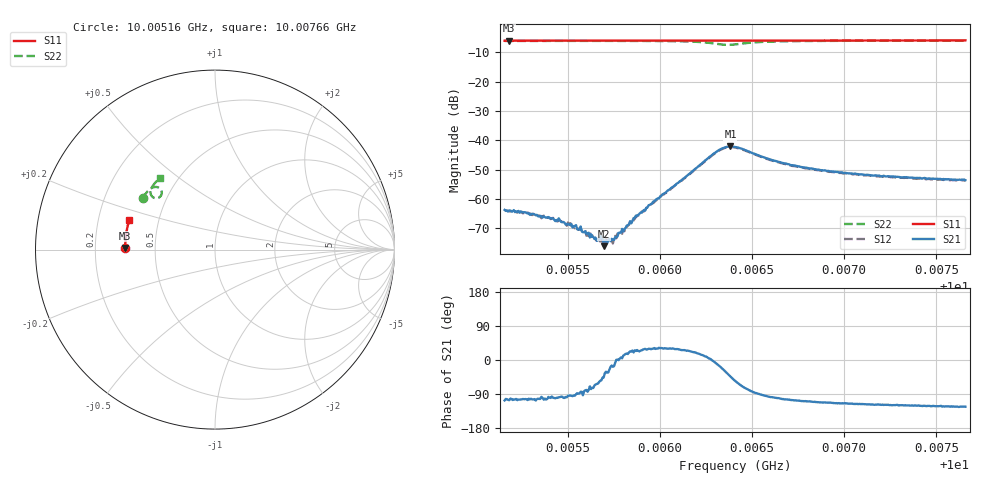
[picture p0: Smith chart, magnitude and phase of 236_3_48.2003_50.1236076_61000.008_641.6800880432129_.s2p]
#  HZ  S  RI  R  50.00
! Rohde & Schwarz Vector Network Analyzer
! Rohde-Schwarz,ZNB20-2Port,1311601062101988,3.16
! Created: UTC 3/20/2024, 11:46:40 AM
! freq[Hz]  re:S11  im:S11  re:S21  im:S21  re:S12  im:S12  re:S22  im:S22
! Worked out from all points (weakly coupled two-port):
!   401 points, 10.00516 GHz to 10.00766 GHz, reference 50 ohm
!   highest |S21| = -42.07 dB at 10.00638 GHz (marker M1); lowest = -76.1 dB at 10.0057 GHz (marker M2)
!   lowest |S11| = -6.0 dB at 10.00518 GHz (marker M3), VSWR 3.00, Z = 16.7 + j0.423 ohm
!   |S11| at or under -10 dB: nowhere
!   |S22| runs from -7.4 to -6.0 dB; largest |S21 - S12| = 0.00047
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1.0005158e10  -0.5 0.00779  -0.000187 -0.000623  -0.000148 -0.000612  -0.4034 0.2873
1.0005183e10  -0.4999 0.00953  -0.000175 -0.00061  -0.000124 -0.000599  -0.4026 0.2889
1.0005258e10  -0.5001 0.0144  -0.000132 -0.000578  -0.000119 -0.000555  -0.3995 0.2932
1.0005408e10  -0.5 0.0243  -8.28e-05 -0.000464  -4.81e-05 -0.000451  -0.3932 0.302
1.0005533e10  -0.4996 0.0322  -2.27e-05 -0.000339  1.2e-05 -0.000328  -0.3879 0.3097
1.0005577e10  -0.4997 0.0351  2.99e-05 -0.000279  2.26e-05 -0.000285  -0.3857 0.3124
1.0005658e10  -0.4995 0.0403  8.74e-05 -0.000173  7.96e-05 -0.000176  -0.3817 0.3173
1.0005677e10  -0.4994 0.0415  0.000124 -0.000175  0.000103 -0.000157  -0.3807 0.3184
1.0005695e10  -0.4992 0.0428  0.000109 -0.000113  0.000118 -0.000123  -0.3796 0.3197
1.0005708e10  -0.4991 0.0436  0.000167 -9.95e-05  0.000188 -0.000119  -0.379 0.3205
1.0005733e10  -0.4991 0.0453  0.000182 -5.81e-05  0.00019 -6.38e-05  -0.3777 0.322
1.0005758e10  -0.499 0.047  0.000221 -2.75e-05  0.000234 -1.4e-05  -0.3762 0.3236
1.000587e10  -0.4984 0.0541  0.000477 0.00021  0.000436 0.000227  -0.3691 0.3309
1.0005995e10  -0.4978 0.0623  0.000867 0.000549  0.000856 0.000548  -0.359 0.3393
1.0006295e10  -0.4952 0.0815  0.006 -0.000507  0.00586 -0.000207  -0.3007 0.3326
1.0006339e10  -0.4946 0.0841  0.00671 -0.00284  0.00667 -0.00244  -0.2971 0.3109
1.0006383e10  -0.4943 0.0867  0.0057 -0.00544  0.00587 -0.00501  -0.3109 0.2907
1.0006408e10  -0.4939 0.0881  0.00445 -0.00633  0.00469 -0.00592  -0.3235 0.2861
1.0006626e10  -0.4924 0.1021  -0.000757 -0.0044  -0.000556 -0.0043  -0.3593 0.3266
1.0006826e10  -0.4901 0.1149  -0.00113 -0.00308  -0.000953 -0.00305  -0.3508 0.3493
1.0007245e10  -0.4841 0.1413  -0.00119 -0.00212  -0.00105 -0.00214  -0.3295 0.3766
1.0007657e10  -0.4768 0.1669  -0.00115 -0.00175  -0.00105 -0.00176  -0.3083 0.3971
